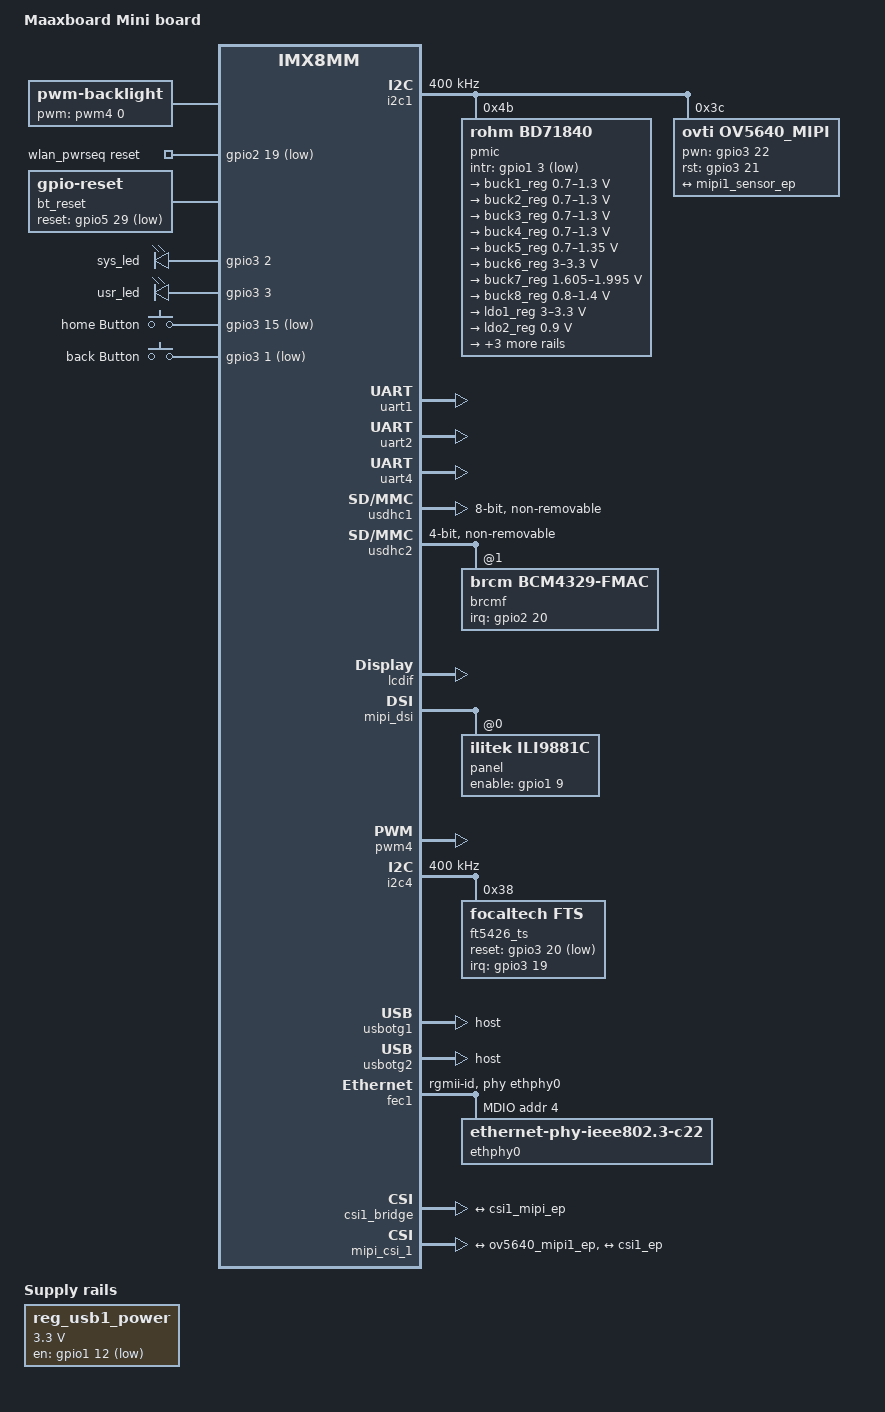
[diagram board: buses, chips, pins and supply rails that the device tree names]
/*
 * Copyright 2019 EMBEST
 *
 * This program is free software; you can redistribute it and/or
 * modify it under the terms of the GNU General Public License
 * as published by the Free Software Foundation; either version 2
 * of the License, or (at your option) any later version.
 *
 * This program is distributed in the hope that it will be useful,
 * but WITHOUT ANY WARRANTY; without even the implied warranty of
 * MERCHANTABILITY or FITNESS FOR A PARTICULAR PURPOSE.  See the
 * GNU General Public License for more details.
 */

/dts-v1/;

#include "imx8mm.dtsi"

/ {
	model = "Maaxboard Mini  board";
	compatible = "Avnet, Maaxboard Mini", "fsl,imx8mm";

	chosen {
		bootargs = "console=ttymxc1,115200 earlycon=ec_imx6q,0x30890000,115200";
		stdout-path = &uart2;
	};

	regulators {
		compatible = "simple-bus";
		#address-cells = <1>;
		#size-cells = <0>;

		reg_usb1_power: regulator-usb-3v3 {
			compatible = "regulator-fixed";
			regulator-name = "usb1-power-en";
			regulator-min-microvolt = <3300000>;
			regulator-max-microvolt = <3300000>;
			gpio = <&gpio1 12 GPIO_ACTIVE_HIGH>;
			off-on-delay = <1000>;
			startup-delay-us = <300>;
		};
	};

	backlight {
			compatible = "pwm-backlight";
			pwms = <&pwm4 0 40000 0>;
			brightness-levels = <0 8 32 64 96 128 160 192 224 255>;
			default-brightness-level = <8>;
			status = "okay";
	};

    wlan_pwrseq: sdio-pwrseq {
		compatible = "mmc-pwrseq-simple";
		reset-gpios = <&gpio2 19 GPIO_ACTIVE_LOW>;      /* WL_REG_ON */
	};

    bt_reset: bt-reset {
		compatible = "gpio-reset";
		reset-gpios = <&gpio5 29 GPIO_ACTIVE_LOW>;      /* BT_REG_ON */
		reset-delay-us = <1000>;
		reset-post-delay-ms = <40>;
		#reset-cells = <0>;
	};

	leds {
		compatible = "gpio-leds";
		pinctrl-names = "default";
		pinctrl-0 = <&pinctrl_gpio_leds>;
		status = "okay";

		sys_led {
				label = "sys_led";
				gpios = <&gpio3 2 0>;
				default-state = "on";
				linux,default-trigger = "heartbeat";
		};

		usr_led {
				label = "usr_led";
				gpios = <&gpio3 3 0>;
				default-state = "on";
		};

	};

    gpio_keys {
        compatible = "gpio-keys";
        pinctrl-names = "default";
        pinctrl-0 = <&pinctrl_gpio_keys>;

        home {
            label = "home Button";
            gpios = <&gpio3 15 GPIO_ACTIVE_LOW>;
            linux,code = <KEY_HOMEPAGE>;
            wakeup-source;
        };

        back {
            label = "back Button";
            gpios = <&gpio3 1 GPIO_ACTIVE_LOW>;
            linux,code = <KEY_BACK>;
        };
	};
};

&clk {
	assigned-clocks = <&clk IMX8MM_AUDIO_PLL1>, <&clk IMX8MM_AUDIO_PLL2>;
	assigned-clock-rates = <786432000>, <722534400>;
};

&iomuxc {
	pinctrl-names = "default";

	imx8mm-evk {
		pinctrl_hog: hoggrp {
			fsl,pins = <
				MX8MM_IOMUXC_GPIO1_IO12_GPIO1_IO12      0x02
				/* 40 pin sense Hat*/
				// Left
				MX8MM_IOMUXC_I2C2_SDA_GPIO5_IO17	0x16
				MX8MM_IOMUXC_I2C2_SCL_GPIO5_IO16	0x16
				MX8MM_IOMUXC_GPIO1_IO14_GPIO1_IO14	0x16
				MX8MM_IOMUXC_NAND_WE_B_GPIO3_IO17	0x16
				MX8MM_IOMUXC_NAND_CE3_B_GPIO3_IO4	0x16
				MX8MM_IOMUXC_NAND_WP_B_GPIO3_IO18	0x16
				MX8MM_IOMUXC_ECSPI1_MOSI_GPIO5_IO7	0x16
				MX8MM_IOMUXC_ECSPI1_MISO_GPIO5_IO8	0x16
				MX8MM_IOMUXC_ECSPI1_SCLK_GPIO5_IO6	0x16
				MX8MM_IOMUXC_I2C3_SDA_GPIO5_IO19	0x16
				MX8MM_IOMUXC_GPIO1_IO15_GPIO1_IO15	0x16
				MX8MM_IOMUXC_SAI2_MCLK_GPIO4_IO27	0x16
				MX8MM_IOMUXC_SPDIF_RX_GPIO5_IO4		0x16
				MX8MM_IOMUXC_SAI3_RXFS_GPIO4_IO28	0x16
				MX8MM_IOMUXC_GPIO1_IO10_GPIO1_IO10	0x16

				// Right
				MX8MM_IOMUXC_SAI3_TXC_GPIO5_IO0		0x16
				MX8MM_IOMUXC_UART4_RXD_GPIO5_IO28	0x16
				MX8MM_IOMUXC_ECSPI1_SS0_GPIO5_IO9	0x16
				MX8MM_IOMUXC_GPIO1_IO01_GPIO1_IO1	0x16
				MX8MM_IOMUXC_I2C3_SCL_GPIO5_IO18	0x16
				MX8MM_IOMUXC_SPDIF_EXT_CLK_GPIO5_IO5	0x16
				MX8MM_IOMUXC_NAND_READY_B_GPIO3_IO16	0x16
				MX8MM_IOMUXC_SAI3_RXD_GPIO4_IO30	0x16
				MX8MM_IOMUXC_SAI3_TXD_GPIO5_IO1		0x16
			>;
		};

		pinctrl_gpio_leds: gpio_ledsgrp {
			fsl,pins = <
				MX8MM_IOMUXC_NAND_CE1_B_GPIO3_IO2                0x19
				MX8MM_IOMUXC_NAND_CE2_B_GPIO3_IO3                0x19
			>;
		};

		pinctrl_gpio_keys: gpio_keysgrp {
			fsl,pins = <
				MX8MM_IOMUXC_NAND_RE_B_GPIO3_IO15   0x144
				MX8MM_IOMUXC_NAND_CE0_B_GPIO3_IO1   0x144
			>;
		};

		pinctrl_i2c1: i2c1grp {
			fsl,pins = <
				MX8MM_IOMUXC_I2C1_SCL_I2C1_SCL      0x400001c3
				MX8MM_IOMUXC_I2C1_SDA_I2C1_SDA      0x400001c3
			>;
		};

		pinctrl_i2c4: i2c4grp {
			fsl,pins = <
				MX8MM_IOMUXC_I2C4_SCL_I2C4_SCL			0x400001c3
				MX8MM_IOMUXC_I2C4_SDA_I2C4_SDA			0x400001c3
			>;
		};

		pinctrl_pmic: pmicirq {
			fsl,pins = <
				MX8MM_IOMUXC_GPIO1_IO03_GPIO1_IO3   0x41
			>;
		};

		pinctrl_uart1: uart1grp {
			fsl,pins = <
				MX8MM_IOMUXC_UART1_RXD_UART1_DCE_RX	0x140
				MX8MM_IOMUXC_UART1_TXD_UART1_DCE_TX	0x140
			>;
		};

		pinctrl_uart2: uart2grp {
			fsl,pins = <
				MX8MM_IOMUXC_UART2_RXD_UART2_DCE_RX	0x140
				MX8MM_IOMUXC_UART2_TXD_UART2_DCE_TX	0x140
			>;
		};

		pinctrl_uart4: uart4grp {
			fsl,pins = <
				MX8MM_IOMUXC_ECSPI2_SCLK_UART4_DCE_RX  0x140
				MX8MM_IOMUXC_ECSPI2_MOSI_UART4_DCE_TX  0x140
				MX8MM_IOMUXC_ECSPI2_MISO_UART4_DCE_CTS_B  0x140
				MX8MM_IOMUXC_ECSPI2_SS0_UART4_DCE_RTS_B  0x140
			>;
		};

		pinctrl_usdhc1: usdhc1grp {
			fsl,pins = <
				MX8MM_IOMUXC_SD1_CLK_USDHC1_CLK         0x190
				MX8MM_IOMUXC_SD1_CMD_USDHC1_CMD         0x1d0
				MX8MM_IOMUXC_SD1_DATA0_USDHC1_DATA0     0x1d0
				MX8MM_IOMUXC_SD1_DATA1_USDHC1_DATA1     0x1d0
				MX8MM_IOMUXC_SD1_DATA2_USDHC1_DATA2     0x1d0
				MX8MM_IOMUXC_SD1_DATA3_USDHC1_DATA3     0x1d0
				MX8MM_IOMUXC_SD1_DATA4_USDHC1_DATA4     0x1d0
				MX8MM_IOMUXC_SD1_DATA5_USDHC1_DATA5     0x1d0
				MX8MM_IOMUXC_SD1_DATA6_USDHC1_DATA6     0x1d0
				MX8MM_IOMUXC_SD1_DATA7_USDHC1_DATA7     0x1d0
				MX8MM_IOMUXC_SD1_RESET_B_USDHC1_RESET_B 0x1d0
				MX8MM_IOMUXC_SD1_STROBE_USDHC1_STROBE   0x190
			>;
		};

		pinctrl_usdhc1_100mhz: usdhc1grp100mhz {
			fsl,pins = <
				MX8MM_IOMUXC_SD1_CLK_USDHC1_CLK         0x194
				MX8MM_IOMUXC_SD1_CMD_USDHC1_CMD         0x1d4
				MX8MM_IOMUXC_SD1_DATA0_USDHC1_DATA0     0x1d4
				MX8MM_IOMUXC_SD1_DATA1_USDHC1_DATA1     0x1d4
				MX8MM_IOMUXC_SD1_DATA2_USDHC1_DATA2     0x1d4
				MX8MM_IOMUXC_SD1_DATA3_USDHC1_DATA3     0x1d4
				MX8MM_IOMUXC_SD1_DATA4_USDHC1_DATA4     0x1d4
				MX8MM_IOMUXC_SD1_DATA5_USDHC1_DATA5     0x1d4
				MX8MM_IOMUXC_SD1_DATA6_USDHC1_DATA6     0x1d4
				MX8MM_IOMUXC_SD1_DATA7_USDHC1_DATA7     0x1d4
				MX8MM_IOMUXC_SD1_RESET_B_USDHC1_RESET_B 0x1d4
				MX8MM_IOMUXC_SD1_STROBE_USDHC1_STROBE   0x194
			>;
		};

        pinctrl_usdhc2: usdhc2grp {
			fsl,pins = <
				MX8MM_IOMUXC_SD2_CLK_USDHC2_CLK         0x190
				MX8MM_IOMUXC_SD2_CMD_USDHC2_CMD         0x1d0
				MX8MM_IOMUXC_SD2_DATA0_USDHC2_DATA0     0x1d0
				MX8MM_IOMUXC_SD2_DATA1_USDHC2_DATA1     0x1d0
				MX8MM_IOMUXC_SD2_DATA2_USDHC2_DATA2     0x1d0
				MX8MM_IOMUXC_SD2_DATA3_USDHC2_DATA3     0x1d0
			>;
		};

		pinctrl_usdhc2_100mhz: usdhc2grp100mhz {
			fsl,pins = <
				MX8MM_IOMUXC_SD2_CLK_USDHC2_CLK         0x194
				MX8MM_IOMUXC_SD2_CMD_USDHC2_CMD         0x1d4
				MX8MM_IOMUXC_SD2_DATA0_USDHC2_DATA0     0x1d4
				MX8MM_IOMUXC_SD2_DATA1_USDHC2_DATA1     0x1d4
				MX8MM_IOMUXC_SD2_DATA2_USDHC2_DATA2     0x1d4
				MX8MM_IOMUXC_SD2_DATA3_USDHC2_DATA3     0x1d4
			>;
		};

        pinctrl_wlan_gpio: usdhc2grpwlan {
			fsl,pins = <
                MX8MM_IOMUXC_SD2_RESET_B_GPIO2_IO19     0x41 /* WL_REG_ON */
                MX8MM_IOMUXC_SD2_WP_GPIO2_IO20          0x41 /* WL_HOST_WAKE irq */
                MX8MM_IOMUXC_UART4_TXD_GPIO5_IO29       0x41 /* BT_REG_ON */
                MX8MM_IOMUXC_GPIO1_IO00_ANAMIX_REF_CLK_32K  0x141 /* SUSCLK_IN 32k */
			>;
		};

		pinctrl_mipi_dsi_en: mipi_dsi_en {
			fsl,pins = <
				MX8MM_IOMUXC_GPIO1_IO09_GPIO1_IO9	0x16 /*DSI_EN*/
			>;
		};

		pinctrl_pwm4: pwm4_grp {
			fsl,pins = <
					MX8MM_IOMUXC_SAI3_MCLK_PWM4_OUT  0x06
			>;
		};

		pinctrl_ts_ft5426: ft5426_pinsgrp {
			fsl,pins = <
				MX8MM_IOMUXC_SAI5_RXFS_GPIO3_IO19  0x19 /* DSI_TS_nINT */
				MX8MM_IOMUXC_SAI5_RXC_GPIO3_IO20   0x19 /* DSI_TS_RST */
			>;
		};

		pinctrl_fec1: fec1grp {
			fsl,pins = <
				MX8MM_IOMUXC_ENET_MDC_ENET1_MDC		0x3
				MX8MM_IOMUXC_ENET_MDIO_ENET1_MDIO	0x3
				MX8MM_IOMUXC_ENET_TD3_ENET1_RGMII_TD3	0x1f
				MX8MM_IOMUXC_ENET_TD2_ENET1_RGMII_TD2	0x1f
				MX8MM_IOMUXC_ENET_TD1_ENET1_RGMII_TD1	0x1f
				MX8MM_IOMUXC_ENET_TD0_ENET1_RGMII_TD0	0x1f
				MX8MM_IOMUXC_ENET_RD3_ENET1_RGMII_RD3	0x91
				MX8MM_IOMUXC_ENET_RD2_ENET1_RGMII_RD2	0x91
				MX8MM_IOMUXC_ENET_RD1_ENET1_RGMII_RD1	0x91
				MX8MM_IOMUXC_ENET_RD0_ENET1_RGMII_RD0	0x91
				MX8MM_IOMUXC_ENET_TXC_ENET1_RGMII_TXC	0x1f
				MX8MM_IOMUXC_ENET_RXC_ENET1_RGMII_RXC	0x91
				MX8MM_IOMUXC_ENET_RX_CTL_ENET1_RGMII_RX_CTL	0x91
				MX8MM_IOMUXC_ENET_TX_CTL_ENET1_RGMII_TX_CTL	0x1f
				MX8MM_IOMUXC_GPIO1_IO07_GPIO1_IO7	0x19
			>;
		};

		pinctrl_csi_pwn: csi_pwn_grp {
			fsl,pins = <
				MX8MM_IOMUXC_SAI5_RXD1_GPIO3_IO22		0x19
			>;
		};

		pinctrl_csi_rst: csi_rst_grp {
			fsl,pins = <
				MX8MM_IOMUXC_SAI5_RXD0_GPIO3_IO21		0x19
			>;
		};
	};
};

&i2c1 {
	clock-frequency = <400000>;
	pinctrl-names = "default";
	pinctrl-0 = <&pinctrl_i2c1>;
	status = "okay";

	pmic: bd71837@4b {
		reg = <0x4b>;
		compatible = "rohm,bd71840", "rohm,bd71837";
		/* PMIC BD71837 PMIC_nINT GPIO1_IO3 */
		pinctrl-0 = <&pinctrl_pmic>;
		gpio_intr = <&gpio1 3 GPIO_ACTIVE_LOW>;

		gpo {
			rohm,drv = <0x0C>;	/* 0b0000_1100 all gpos with cmos output mode */
		};

		regulators {
			#address-cells = <1>;
			#size-cells = <0>;

			bd71837,pmic-buck2-uses-i2c-dvs;
			bd71837,pmic-buck2-dvs-voltage = <1000000>, <900000>, <0>; /* VDD_ARM: Run-Idle */

			buck1_reg: regulator@0 {
				reg = <0>;
				regulator-compatible = "buck1";
				regulator-min-microvolt = <700000>;
				regulator-max-microvolt = <1300000>;
				regulator-boot-on;
				regulator-always-on;
				regulator-ramp-delay = <1250>;
			};

			buck2_reg: regulator@1 {
				reg = <1>;
				regulator-compatible = "buck2";
				regulator-min-microvolt = <700000>;
				regulator-max-microvolt = <1300000>;
				regulator-boot-on;
				regulator-always-on;
				regulator-ramp-delay = <1250>;
			};

			buck3_reg: regulator@2 {
				reg = <2>;
				regulator-compatible = "buck3";
				regulator-min-microvolt = <700000>;
				regulator-max-microvolt = <1300000>;
				regulator-boot-on;
				regulator-always-on;
			};

			buck4_reg: regulator@3 {
				reg = <3>;
				regulator-compatible = "buck4";
				regulator-min-microvolt = <700000>;
				regulator-max-microvolt = <1300000>;
			};

			buck5_reg: regulator@4 {
				reg = <4>;
				regulator-compatible = "buck5";
				regulator-min-microvolt = <700000>;
				regulator-max-microvolt = <1350000>;
				regulator-boot-on;
				regulator-always-on;
			};

			buck6_reg: regulator@5 {
				reg = <5>;
				regulator-compatible = "buck6";
				regulator-min-microvolt = <3000000>;
				regulator-max-microvolt = <3300000>;
				regulator-boot-on;
				regulator-always-on;
			};

			buck7_reg: regulator@6 {
				reg = <6>;
				regulator-compatible = "buck7";
				regulator-min-microvolt = <1605000>;
				regulator-max-microvolt = <1995000>;
				regulator-boot-on;
				regulator-always-on;
			};

			buck8_reg: regulator@7 {
				reg = <7>;
				regulator-compatible = "buck8";
				regulator-min-microvolt = <800000>;
				regulator-max-microvolt = <1400000>;
				regulator-boot-on;
				regulator-always-on;
			};

			ldo1_reg: regulator@8 {
				reg = <8>;
				regulator-compatible = "ldo1";
				regulator-min-microvolt = <3000000>;
				regulator-max-microvolt = <3300000>;
				regulator-boot-on;
				regulator-always-on;
			};

			ldo2_reg: regulator@9 {
				reg = <9>;
				regulator-compatible = "ldo2";
				regulator-min-microvolt = <900000>;
				regulator-max-microvolt = <900000>;
				regulator-boot-on;
				regulator-always-on;
			};

			ldo3_reg: regulator@10 {
				reg = <10>;
				regulator-compatible = "ldo3";
				regulator-min-microvolt = <1800000>;
				regulator-max-microvolt = <3300000>;
				regulator-boot-on;
				regulator-always-on;
			};

			ldo4_reg: regulator@11 {
				reg = <11>;
				regulator-compatible = "ldo4";
				regulator-min-microvolt = <900000>;
				regulator-max-microvolt = <1800000>;
				regulator-boot-on;
				regulator-always-on;
			};

			ldo6_reg: regulator@13 {
				reg = <13>;
				regulator-compatible = "ldo6";
				regulator-min-microvolt = <900000>;
				regulator-max-microvolt = <1800000>;
				regulator-boot-on;
				regulator-always-on;
			};
		};
	};

	ov5640_mipi: ov5640_mipi@3c {
		compatible = "ovti,ov5640_mipi";
		reg = <0x3c>;
		status = "okay";
		pinctrl-names = "default";
		pinctrl-0 = <&pinctrl_csi_pwn>, <&pinctrl_csi_rst>;
		clocks = <&clk IMX8MM_CLK_CLKO1>;
		clock-names = "csi_mclk";
		csi_id = <0>;
		pwn-gpios = <&gpio3 22 GPIO_ACTIVE_HIGH>;
		rst-gpios = <&gpio3 21 GPIO_ACTIVE_HIGH>;
		mclk = <24000000>;
		mclk_source = <0>;
		port {
			ov5640_mipi1_ep: endpoint {
				remote-endpoint = <&mipi1_sensor_ep>;
			};
		};
	};
};

&uart1 { /* console */
	pinctrl-names = "default";
	pinctrl-0 = <&pinctrl_uart1>;
	status = "okay";
};

&uart2 {
	pinctrl-names = "default";
	pinctrl-0 = <&pinctrl_uart2>;
	status = "okay";
};

&uart4 {
	pinctrl-names = "default";
	pinctrl-0 = <&pinctrl_uart4>;
	assigned-clocks = <&clk IMX8MM_CLK_UART4>;
	assigned-clock-parents = <&clk IMX8MM_SYS_PLL1_80M>;
	fsl,uart-has-rtscts;
	resets = <&bt_reset>;
	status = "okay";
};

&usdhc1 {
	pinctrl-names = "default", "state_100mhz";
	pinctrl-0 = <&pinctrl_usdhc1>;
	pinctrl-1 = <&pinctrl_usdhc1_100mhz>;
	bus-width = <8>;
	non-removable;
	status = "okay";
};

&usdhc2 {
	pinctrl-names = "default", "state_100mhz";
	pinctrl-0 = <&pinctrl_usdhc2>, <&pinctrl_wlan_gpio>;
	pinctrl-1 = <&pinctrl_usdhc2_100mhz>, <&pinctrl_wlan_gpio>;
	bus-width = <4>;
	mmc-pwrseq = <&wlan_pwrseq>;
	no-1-8-v;
	non-removable;
	pm-ignore-notify;
	cap-power-off-card;
	status = "okay";

	#address-cells = <1>;
	#size-cells = <0>;
	brcmf: bcrmf@1 {
			reg = <1>;
			compatible = "brcm,bcm4329-fmac";
			interrupt-parent = <&gpio2>;
			interrupts = <20 IRQ_TYPE_LEVEL_LOW>;
			interrupt-names = "host-wake";
        };
};

&A53_0 {
	arm-supply = <&buck2_reg>;
};

/*
&gpu {
	status = "okay";
};

&vpu_g1 {
	status = "okay";
};

&vpu_g2 {
	status = "okay";
};

&vpu_h1 {
	status = "okay";
};
*/
&lcdif {
	status = "okay";
};

&mipi_dsi {
	status = "okay";

	panel@0 {
		compatible = "ilitek,ili9881c";
		reg = <0>;
		pinctrl-0 = <&pinctrl_mipi_dsi_en>;
		enable-gpio = <&gpio1 9 GPIO_ACTIVE_HIGH>;
		dsi-lanes = <2>;
		status = "okay";
	};
};

&pwm4 {
        pinctrl-names = "default";
        pinctrl-0 = <&pinctrl_pwm4>;
        status = "okay";
};

&i2c4 {
	clock-frequency = <400000>;
	pinctrl-names = "default";
	pinctrl-0 = <&pinctrl_i2c4>;
	status = "okay";

	ft5426_ts@38 {
			compatible = "focaltech,fts";
			reg = <0x38>;
			pinctrl-0 = <&pinctrl_ts_ft5426>;

			interrupt-parent = <&gpio3>;
			interrupts = <19 2>;
			focaltech,reset-gpio = <&gpio3 20 0x01>;
			focaltech,irq-gpio = <&gpio3 19 0x02>;
			focaltech,max-touch-number = <10>;
			focaltech,panel-type = <0x54260002>;/* _FT5426 */
			focaltech,display-coords =  <0 0 720 1280>;
			focaltech,have-key;
			focaltech,key-number = <3>;
			focaltech,keys = <139 102 158>;
			focaltech,key-y-coord = <2000>;
			focaltech,key-x-coords = <200 600 800>;
	};
};

&usbotg1 {
	dr_mode = "host";
	picophy,pre-emp-curr-control = <3>;
	picophy,dc-vol-level-adjust = <7>;
	status = "okay";
};

&usbotg2 {
	dr_mode = "host";
	picophy,pre-emp-curr-control = <3>;
	picophy,dc-vol-level-adjust = <7>;
	status = "okay";
};

&fec1 {
	pinctrl-names = "default";
	pinctrl-0 = <&pinctrl_fec1>;
	phy-mode = "rgmii-id";
	phy-handle = <&ethphy0>;
	fsl,magic-packet;
	status = "okay";

	mdio {
		#address-cells = <1>;
		#size-cells = <0>;

		ethphy0: ethernet-phy@4 {
			compatible = "ethernet-phy-ieee802.3-c22";
			reg = <4>;
			at803x,led-act-blind-workaround;
			at803x,eee-okay;
			at803x,vddio-1p8v;
		};
	};
};

&csi1_bridge {
	fsl,mipi-mode;
    /*fsl,two-8bit-sensor-mode;*/
	status = "okay";
	port {
		csi1_ep: endpoint {
			remote-endpoint = <&csi1_mipi_ep>;
		};
	};
};

&mipi_csi_1 {
	#address-cells = <1>;
	#size-cells = <0>;
	status = "okay";
	port {
		mipi1_sensor_ep: endpoint1 {
			remote-endpoint = <&ov5640_mipi1_ep>;
			data-lanes = <2>;
			csis-hs-settle = <13>;
			csis-clk-settle = <2>;
			csis-wclk;
		};

		csi1_mipi_ep: endpoint2 {
			remote-endpoint = <&csi1_ep>;
		};
	};
};
